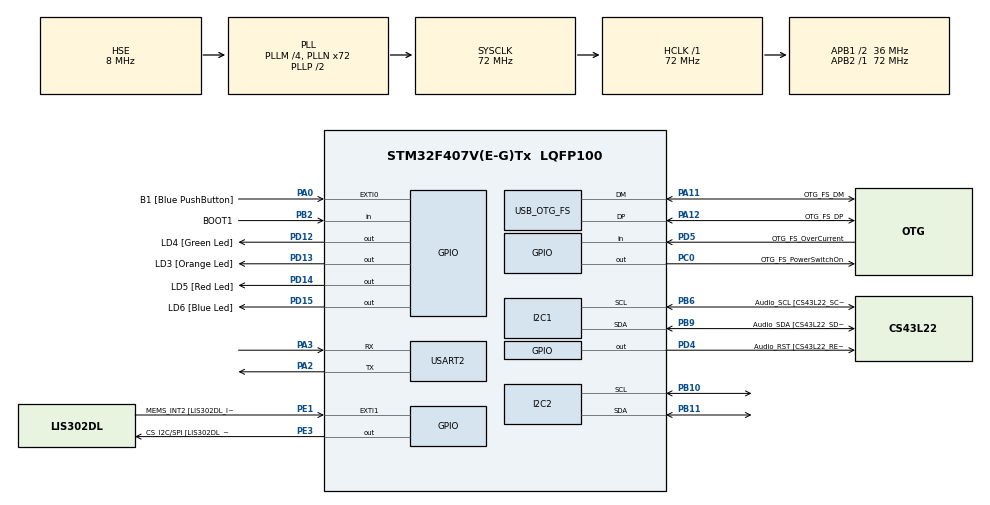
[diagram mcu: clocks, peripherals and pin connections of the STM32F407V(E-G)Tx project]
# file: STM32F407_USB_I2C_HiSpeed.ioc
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I2C1.I2C_Mode=I2C_Fast
I2C2.I2C_Mode=I2C_Fast
Mcu.Family=STM32F4
Mcu.Name=STM32F407V(E-G)Tx
Mcu.Package=LQFP100
NVIC.I2C1_EV_IRQn=true\:1\:0\:true\:false\:true\:true\:true\:true
NVIC.OTG_FS_IRQn=true\:1\:0\:true\:false\:true\:false\:true\:true
NVIC.PriorityGroup=NVIC_PRIORITYGROUP_1
PA0-WKUP.GPIO_Label=B1 [Blue PushButton]
PA0-WKUP.Signal=GPXTI0
PA10.GPIO_Label=OTG_FS_ID
PA10.GPIO_Mode=GPIO_MODE_AF_PP
PA10.GPIO_PuPd=GPIO_NOPULL
PA10.GPIO_Speed=GPIO_SPEED_FREQ_LOW
PA10.Signal=USB_OTG_FS_ID
PA11.GPIO_Label=OTG_FS_DM
PA11.GPIO_Mode=GPIO_MODE_AF_PP
PA11.GPIO_PuPd=GPIO_NOPULL
PA11.GPIO_Speed=GPIO_SPEED_FREQ_LOW
PA11.Mode=Device_Only
PA11.Signal=USB_OTG_FS_DM
PA12.GPIO_Label=OTG_FS_DP
PA12.GPIO_Mode=GPIO_MODE_AF_PP
PA12.GPIO_PuPd=GPIO_NOPULL
PA12.GPIO_Speed=GPIO_SPEED_FREQ_LOW
PA12.Mode=Device_Only
PA12.Signal=USB_OTG_FS_DP
PA13.GPIO_Label=SWDIO
PA13.Signal=SYS_JTMS-SWDIO
PA14.GPIO_Label=SWCLK
PA14.Signal=SYS_JTCK-SWCLK
PA2.Mode=Asynchronous
PA2.Signal=USART2_TX
PA3.Mode=Asynchronous
PA3.Signal=USART2_RX
PA4.GPIO_Label=I2S3_WS [CS43L22_LRCK]
PA4.GPIO_Mode=GPIO_MODE_AF_PP
PA4.GPIO_PuPd=GPIO_NOPULL
PA4.GPIO_Speed=GPIO_SPEED_FREQ_LOW
PA4.Signal=I2S3_WS
PA5.GPIO_Label=SPI1_SCK [LIS302DL_SCL/SPC]
PA5.GPIO_Mode=GPIO_MODE_AF_PP
PA5.GPIO_PuPd=GPIO_NOPULL
PA5.GPIO_Speed=GPIO_SPEED_FREQ_LOW
PA5.Signal=SPI1_SCK
PA6.GPIO_Label=SPI1_MISO [LIS302DL_SDO]
PA6.GPIO_Mode=GPIO_MODE_AF_PP
PA6.GPIO_PuPd=GPIO_NOPULL
PA6.GPIO_Speed=GPIO_SPEED_FREQ_LOW
PA6.Signal=SPI1_MISO
PA7.GPIO_Label=SPI1_MOSI [LIS302DL_SDA/SDI/SDO]
PA7.GPIO_Mode=GPIO_MODE_AF_PP
PA7.GPIO_PuPd=GPIO_NOPULL
PA7.GPIO_Speed=GPIO_SPEED_FREQ_LOW
PA7.Signal=SPI1_MOSI
PA9.GPIO_Label=VBUS_FS
PA9.GPIO_Mode=GPIO_MODE_INPUT
PA9.GPIO_PuPd=GPIO_NOPULL
PA9.Signal=USB_OTG_FS_VBUS
PB10.Mode=I2C
PB10.Signal=I2C2_SCL
PB11.Mode=I2C
PB11.Signal=I2C2_SDA
PB2.GPIO_Label=BOOT1
PB2.GPIO_Mode=GPIO_MODE_INPUT
PB2.GPIO_PuPd=GPIO_NOPULL
PB2.Signal=GPIO_Input
PB3.GPIO_Label=SWO
PB3.Signal=SYS_JTDO-SWO
PB6.GPIO_Label=Audio_SCL [CS43L22_SCL]
PB6.GPIO_Mode=GPIO_MODE_AF_OD
PB6.GPIO_PuPd=GPIO_NOPULL
PB6.GPIO_Speed=GPIO_SPEED_FREQ_LOW
PB6.Mode=I2C
PB6.Signal=I2C1_SCL
PB9.GPIO_Label=Audio_SDA [CS43L22_SDA]
PB9.GPIO_Mode=GPIO_MODE_AF_OD
PB9.GPIO_PuPd=GPIO_NOPULL
PB9.GPIO_Speed=GPIO_SPEED_FREQ_LOW
PB9.Mode=I2C
PB9.Signal=I2C1_SDA
PC0.GPIO_Label=OTG_FS_PowerSwitchOn
PC0.GPIO_PuPd=GPIO_NOPULL
PC0.GPIO_Speed=GPIO_SPEED_FREQ_LOW
PC0.PinState=GPIO_PIN_SET
PC0.Signal=GPIO_Output
PC10.GPIO_Label=I2S3_SCK [CS43L22_SCLK]
PC10.GPIO_Mode=GPIO_MODE_AF_PP
PC10.GPIO_PuPd=GPIO_NOPULL
PC10.GPIO_Speed=GPIO_SPEED_FREQ_LOW
PC10.Signal=I2S3_CK
PC12.GPIO_Label=I2S3_SD [CS43L22_SDIN]
PC12.GPIO_Mode=GPIO_MODE_AF_PP
PC12.GPIO_PuPd=GPIO_NOPULL
PC12.GPIO_Speed=GPIO_SPEED_FREQ_LOW
PC12.Signal=I2S3_SD
PC14-OSC32_IN.GPIO_Label=PC14-OSC32_IN
PC14-OSC32_IN.Mode=LSE-External-Oscillator
PC14-OSC32_IN.Signal=RCC_OSC32_IN
PC15-OSC32_OUT.GPIO_Label=PC15-OSC32_OUT
PC15-OSC32_OUT.Mode=LSE-External-Oscillator
PC15-OSC32_OUT.Signal=RCC_OSC32_OUT
PC3.GPIO_Label=PDM_OUT [MP45DT02_DOUT]
PC3.GPIO_Mode=GPIO_MODE_AF_PP
PC3.GPIO_PuPd=GPIO_NOPULL
PC3.GPIO_Speed=GPIO_SPEED_FREQ_LOW
PC3.Signal=I2S2_SD
PC7.GPIO_Label=I2S3_MCK [CS43L22_MCLK]
PC7.GPIO_Mode=GPIO_MODE_AF_PP
PC7.GPIO_PuPd=GPIO_NOPULL
PC7.GPIO_Speed=GPIO_SPEED_FREQ_LOW
PC7.Signal=I2S3_MCK
PD12.GPIO_Label=LD4 [Green Led]
PD12.GPIO_PuPd=GPIO_NOPULL
PD12.GPIO_Speed=GPIO_SPEED_FREQ_LOW
PD12.Signal=GPIO_Output
PD13.GPIO_Label=LD3 [Orange Led]
PD13.GPIO_PuPd=GPIO_NOPULL
PD13.GPIO_Speed=GPIO_SPEED_FREQ_LOW
PD13.Signal=GPIO_Output
PD14.GPIO_Label=LD5 [Red Led]
PD14.GPIO_PuPd=GPIO_NOPULL
PD14.GPIO_Speed=GPIO_SPEED_FREQ_LOW
PD14.Signal=GPIO_Output
PD15.GPIO_Label=LD6 [Blue Led]
PD15.GPIO_PuPd=GPIO_NOPULL
PD15.GPIO_Speed=GPIO_SPEED_FREQ_LOW
PD15.Signal=GPIO_Output
PD4.GPIO_Label=Audio_RST [CS43L22_RESET]
PD4.GPIO_PuPd=GPIO_NOPULL
PD4.GPIO_Speed=GPIO_SPEED_FREQ_LOW
PD4.Signal=GPIO_Output
PD5.GPIO_Label=OTG_FS_OverCurrent
PD5.GPIO_Mode=GPIO_MODE_INPUT
PD5.GPIO_PuPd=GPIO_NOPULL
PD5.Signal=GPIO_Input
PE1.GPIO_Label=MEMS_INT2 [LIS302DL_INT2]
PE1.GPIO_ModeDefaultEXTI=GPIO_MODE_EVT_RISING
PE1.GPIO_PuPd=GPIO_NOPULL
PE1.Signal=GPXTI1
PE3.GPIO_Label=CS_I2C/SPI [LIS302DL_CS_I2C/SPI]
PE3.GPIO_PuPd=GPIO_NOPULL
PE3.GPIO_Speed=GPIO_SPEED_FREQ_LOW
PE3.Signal=GPIO_Output
PH0-OSC_IN.GPIO_Label=PH0-OSC_IN
PH0-OSC_IN.Mode=HSE-External-Oscillator
PH0-OSC_IN.Signal=RCC_OSC_IN
PH1-OSC_OUT.GPIO_Label=PH1-OSC_OUT
PH1-OSC_OUT.Mode=HSE-External-Oscillator
PH1-OSC_OUT.Signal=RCC_OSC_OUT
ProjectManager.HeapSize=0x200
ProjectManager.StackSize=0x400
ProjectManager.TargetToolchain=STM32CubeIDE
RCC.48MHZClocksFreq_Value=48000000
RCC.AHBFreq_Value=72000000
RCC.APB1CLKDivider=RCC_HCLK_DIV2
RCC.APB1Freq_Value=36000000
RCC.APB1TimFreq_Value=72000000
RCC.APB2Freq_Value=72000000
RCC.APB2TimFreq_Value=72000000
RCC.CortexFreq_Value=72000000
RCC.HCLKFreq_Value=72000000
RCC.HSE_VALUE=8000000
RCC.HSI_VALUE=16000000
RCC.PLLM=4
RCC.PLLN=72
RCC.PLLQ=3
RCC.SYSCLKFreq_VALUE=72000000
RCC.SYSCLKSource=RCC_SYSCLKSOURCE_PLLCLK
RCC.VCOOutputFreq_Value=144000000
USART2.VirtualMode=VM_ASYNC
USB_DEVICE.CLASS_NAME_FS=CDC
USB_DEVICE.PRODUCT_STRING_CDC_FS=STM32 VCP-USB to I2C
USB_DEVICE.VirtualMode-CDC_FS=Cdc
USB_DEVICE.VirtualModeFS=Cdc_FS
USB_OTG_FS.VirtualMode=Device_Only
VP_USB_DEVICE_VS_USB_DEVICE_CDC_FS.Mode=CDC_FS
board=STM32F407G-DISC1

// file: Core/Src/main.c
/* USER CODE BEGIN Header */
/**
 ******************************************************************************
 * @file           : main.c
 * @brief          : Main program body
 ******************************************************************************
 * @attention
 *
 * Copyright (c) 2025 STMicroelectronics.
 * All rights reserved.
 *
 * This software is licensed under terms that can be found in the LICENSE file
 * in the root directory of this software component.
 * If no LICENSE file comes with this software, it is provided AS-IS.
 *
 ******************************************************************************
 */
/* USER CODE END Header */
#include "main.h"
#include "usb_device.h"

/* USER CODE BEGIN Includes */
#include "usbd_cdc_if.h"
/* USER CODE END Includes */

I2C_HandleTypeDef hi2c1;
I2C_HandleTypeDef hi2c2;

UART_HandleTypeDef huart2;

/* USER CODE BEGIN PV */
uint8_t RxData[16];
uint8_t RxLen;
HAL_StatusTypeDef I2C_Status = HAL_OK;
uint8_t Status;
uint8_t Resp[MAX_I2C_SIZE + 4] = { FUNC_READ, GOOD };
uint8_t Func = FUNC_READ;
I2C_HandleTypeDef I2C_Port;
/* USER CODE END PV */

void SystemClock_Config(void);
static void MX_GPIO_Init(void);
static void MX_USART2_UART_Init(void);
static void MX_I2C1_Init(void);
static void MX_I2C2_Init(void);

int main(void) {

	/* MCU Configuration--------------------------------------------------------*/

	/* Reset of all peripherals, Initializes the Flash interface and the Systick. */
	HAL_Init();

	/* Configure the system clock */
	SystemClock_Config();

	/* Initialize all configured peripherals */
	MX_GPIO_Init();
	MX_USB_DEVICE_Init();
	MX_USART2_UART_Init();
	MX_I2C1_Init();
	MX_I2C2_Init();

	/* Infinite loop */
	while (1) {

	}
}

void SystemClock_Config(void) {
	RCC_OscInitTypeDef RCC_OscInitStruct = { 0 };
	RCC_ClkInitTypeDef RCC_ClkInitStruct = { 0 };

	/** Configure the main internal regulator output voltage
	 */
	__HAL_RCC_PWR_CLK_ENABLE();
	__HAL_PWR_VOLTAGESCALING_CONFIG(PWR_REGULATOR_VOLTAGE_SCALE1);

	/** Initializes the RCC Oscillators according to the specified parameters
	 * in the RCC_OscInitTypeDef structure.
	 */
	RCC_OscInitStruct.OscillatorType = RCC_OSCILLATORTYPE_HSE;
	RCC_OscInitStruct.HSEState = RCC_HSE_ON;
	RCC_OscInitStruct.PLL.PLLState = RCC_PLL_ON;
	RCC_OscInitStruct.PLL.PLLSource = RCC_PLLSOURCE_HSE;
	RCC_OscInitStruct.PLL.PLLM = 4;
	RCC_OscInitStruct.PLL.PLLN = 72;
	RCC_OscInitStruct.PLL.PLLP = RCC_PLLP_DIV2;
	RCC_OscInitStruct.PLL.PLLQ = 3;
	if (HAL_RCC_OscConfig(&RCC_OscInitStruct) != HAL_OK) {
		Error_Handler();
	}

	/** Initializes the CPU, AHB and APB buses clocks
	 */
	RCC_ClkInitStruct.ClockType = RCC_CLOCKTYPE_HCLK | RCC_CLOCKTYPE_SYSCLK
			| RCC_CLOCKTYPE_PCLK1 | RCC_CLOCKTYPE_PCLK2;
	RCC_ClkInitStruct.SYSCLKSource = RCC_SYSCLKSOURCE_PLLCLK;
	RCC_ClkInitStruct.AHBCLKDivider = RCC_SYSCLK_DIV1;
	RCC_ClkInitStruct.APB1CLKDivider = RCC_HCLK_DIV2;
	RCC_ClkInitStruct.APB2CLKDivider = RCC_HCLK_DIV1;

	if (HAL_RCC_ClockConfig(&RCC_ClkInitStruct, FLASH_LATENCY_2) != HAL_OK) {
		Error_Handler();
	}
}

static void MX_I2C1_Init(void) {

	hi2c1.Instance = I2C1;
	hi2c1.Init.ClockSpeed = 400000;
	hi2c1.Init.DutyCycle = I2C_DUTYCYCLE_2;
	hi2c1.Init.OwnAddress1 = 0;
	hi2c1.Init.AddressingMode = I2C_ADDRESSINGMODE_7BIT;
	hi2c1.Init.DualAddressMode = I2C_DUALADDRESS_DISABLE;
	hi2c1.Init.OwnAddress2 = 0;
	hi2c1.Init.GeneralCallMode = I2C_GENERALCALL_DISABLE;
	hi2c1.Init.NoStretchMode = I2C_NOSTRETCH_DISABLE;
	if (HAL_I2C_Init(&hi2c1) != HAL_OK) {
		Error_Handler();
	}

}

static void MX_I2C2_Init(void) {

	hi2c2.Instance = I2C2;
	hi2c2.Init.ClockSpeed = 400000;
	hi2c2.Init.DutyCycle = I2C_DUTYCYCLE_2;
	hi2c2.Init.OwnAddress1 = 0;
	hi2c2.Init.AddressingMode = I2C_ADDRESSINGMODE_7BIT;
	hi2c2.Init.DualAddressMode = I2C_DUALADDRESS_DISABLE;
	hi2c2.Init.OwnAddress2 = 0;
	hi2c2.Init.GeneralCallMode = I2C_GENERALCALL_DISABLE;
	hi2c2.Init.NoStretchMode = I2C_NOSTRETCH_DISABLE;
	if (HAL_I2C_Init(&hi2c2) != HAL_OK) {
		Error_Handler();
	}

}

static void MX_USART2_UART_Init(void) {

	huart2.Instance = USART2;
	huart2.Init.BaudRate = 115200;
	huart2.Init.WordLength = UART_WORDLENGTH_8B;
	huart2.Init.StopBits = UART_STOPBITS_1;
	huart2.Init.Parity = UART_PARITY_NONE;
	huart2.Init.Mode = UART_MODE_TX_RX;
	huart2.Init.HwFlowCtl = UART_HWCONTROL_NONE;
	huart2.Init.OverSampling = UART_OVERSAMPLING_16;
	if (HAL_UART_Init(&huart2) != HAL_OK) {
		Error_Handler();
	}

}

static void MX_GPIO_Init(void) {
	GPIO_InitTypeDef GPIO_InitStruct = { 0 };

	/* GPIO Ports Clock Enable */
	__HAL_RCC_GPIOE_CLK_ENABLE();
	__HAL_RCC_GPIOC_CLK_ENABLE();
	__HAL_RCC_GPIOH_CLK_ENABLE();
	__HAL_RCC_GPIOA_CLK_ENABLE();
	__HAL_RCC_GPIOB_CLK_ENABLE();
	__HAL_RCC_GPIOD_CLK_ENABLE();

	/*Configure GPIO pin Output Level */
	HAL_GPIO_WritePin(CS_I2C_SPI_GPIO_Port, CS_I2C_SPI_Pin, GPIO_PIN_RESET);

	/*Configure GPIO pin Output Level */
	HAL_GPIO_WritePin(OTG_FS_PowerSwitchOn_GPIO_Port, OTG_FS_PowerSwitchOn_Pin,
			GPIO_PIN_SET);

	/*Configure GPIO pin Output Level */
	HAL_GPIO_WritePin(GPIOD,
	LD4_Pin | LD3_Pin | LD5_Pin | LD6_Pin | Audio_RST_Pin, GPIO_PIN_RESET);

	/*Configure GPIO pin : CS_I2C_SPI_Pin */
	GPIO_InitStruct.Pin = CS_I2C_SPI_Pin;
	GPIO_InitStruct.Mode = GPIO_MODE_OUTPUT_PP;
	GPIO_InitStruct.Pull = GPIO_NOPULL;
	GPIO_InitStruct.Speed = GPIO_SPEED_FREQ_LOW;
	HAL_GPIO_Init(CS_I2C_SPI_GPIO_Port, &GPIO_InitStruct);

	/*Configure GPIO pin : OTG_FS_PowerSwitchOn_Pin */
	GPIO_InitStruct.Pin = OTG_FS_PowerSwitchOn_Pin;
	GPIO_InitStruct.Mode = GPIO_MODE_OUTPUT_PP;
	GPIO_InitStruct.Pull = GPIO_NOPULL;
	GPIO_InitStruct.Speed = GPIO_SPEED_FREQ_LOW;
	HAL_GPIO_Init(OTG_FS_PowerSwitchOn_GPIO_Port, &GPIO_InitStruct);

	/*Configure GPIO pin : PDM_OUT_Pin */
	GPIO_InitStruct.Pin = PDM_OUT_Pin;
	GPIO_InitStruct.Mode = GPIO_MODE_AF_PP;
	GPIO_InitStruct.Pull = GPIO_NOPULL;
	GPIO_InitStruct.Speed = GPIO_SPEED_FREQ_LOW;
	GPIO_InitStruct.Alternate = GPIO_AF5_SPI2;
	HAL_GPIO_Init(PDM_OUT_GPIO_Port, &GPIO_InitStruct);

	/*Configure GPIO pin : B1_Pin */
	GPIO_InitStruct.Pin = B1_Pin;
	GPIO_InitStruct.Mode = GPIO_MODE_IT_RISING;
	GPIO_InitStruct.Pull = GPIO_NOPULL;
	HAL_GPIO_Init(B1_GPIO_Port, &GPIO_InitStruct);

	/*Configure GPIO pin : I2S3_WS_Pin */
	GPIO_InitStruct.Pin = I2S3_WS_Pin;
	GPIO_InitStruct.Mode = GPIO_MODE_AF_PP;
	GPIO_InitStruct.Pull = GPIO_NOPULL;
	GPIO_InitStruct.Speed = GPIO_SPEED_FREQ_LOW;
	GPIO_InitStruct.Alternate = GPIO_AF6_SPI3;
	HAL_GPIO_Init(I2S3_WS_GPIO_Port, &GPIO_InitStruct);

	/*Configure GPIO pins : SPI1_SCK_Pin SPI1_MISO_Pin SPI1_MOSI_Pin */
	GPIO_InitStruct.Pin = SPI1_SCK_Pin | SPI1_MISO_Pin | SPI1_MOSI_Pin;
	GPIO_InitStruct.Mode = GPIO_MODE_AF_PP;
	GPIO_InitStruct.Pull = GPIO_NOPULL;
	GPIO_InitStruct.Speed = GPIO_SPEED_FREQ_LOW;
	GPIO_InitStruct.Alternate = GPIO_AF5_SPI1;
	HAL_GPIO_Init(GPIOA, &GPIO_InitStruct);

	/*Configure GPIO pin : BOOT1_Pin */
	GPIO_InitStruct.Pin = BOOT1_Pin;
	GPIO_InitStruct.Mode = GPIO_MODE_INPUT;
	GPIO_InitStruct.Pull = GPIO_NOPULL;
	HAL_GPIO_Init(BOOT1_GPIO_Port, &GPIO_InitStruct);

	/*Configure GPIO pins : LD4_Pin LD3_Pin LD5_Pin LD6_Pin
	 Audio_RST_Pin */
	GPIO_InitStruct.Pin = LD4_Pin | LD3_Pin | LD5_Pin | LD6_Pin | Audio_RST_Pin;
	GPIO_InitStruct.Mode = GPIO_MODE_OUTPUT_PP;
	GPIO_InitStruct.Pull = GPIO_NOPULL;
	GPIO_InitStruct.Speed = GPIO_SPEED_FREQ_LOW;
	HAL_GPIO_Init(GPIOD, &GPIO_InitStruct);

	/*Configure GPIO pins : I2S3_MCK_Pin I2S3_SCK_Pin I2S3_SD_Pin */
	GPIO_InitStruct.Pin = I2S3_MCK_Pin | I2S3_SCK_Pin | I2S3_SD_Pin;
	GPIO_InitStruct.Mode = GPIO_MODE_AF_PP;
	GPIO_InitStruct.Pull = GPIO_NOPULL;
	GPIO_InitStruct.Speed = GPIO_SPEED_FREQ_LOW;
	GPIO_InitStruct.Alternate = GPIO_AF6_SPI3;
	HAL_GPIO_Init(GPIOC, &GPIO_InitStruct);

	/*Configure GPIO pin : OTG_FS_OverCurrent_Pin */
	GPIO_InitStruct.Pin = OTG_FS_OverCurrent_Pin;
	GPIO_InitStruct.Mode = GPIO_MODE_INPUT;
	GPIO_InitStruct.Pull = GPIO_NOPULL;
	HAL_GPIO_Init(OTG_FS_OverCurrent_GPIO_Port, &GPIO_InitStruct);

	/*Configure GPIO pin : MEMS_INT2_Pin */
	GPIO_InitStruct.Pin = MEMS_INT2_Pin;
	GPIO_InitStruct.Mode = GPIO_MODE_EVT_RISING;
	GPIO_InitStruct.Pull = GPIO_NOPULL;
	HAL_GPIO_Init(MEMS_INT2_GPIO_Port, &GPIO_InitStruct);

}

/* USER CODE BEGIN 4 */
void USB_CDC_RxHandler(uint8_t *Buf, uint32_t Len) {
	HAL_GPIO_TogglePin(GPIOD, LD5_Pin); // Debug

	Status = GOOD;
	RxLen = 0;

	// Define I2C Port
	if ((Buf[FUNC_BYTE] & 0xf0) == I2C1_PORT) {
		I2C_Port = hi2c1;
		Func = Buf[FUNC_BYTE] & 0x0f;
	} else if ((Buf[FUNC_BYTE] & 0xf0) == I2C2_PORT) {
		I2C_Port = hi2c2;
		Func = Buf[FUNC_BYTE] & 0x0f;
	} else {
		Status = ERRB;
		Error_Handling();
		return;
	}

	// Reseting response
	Resp[RESP_FUNC_BYTE] = Buf[FUNC_BYTE];

	// Error Checking
	if (Func == FUNC_BURST_RD || Func == FUNC_BURST_WR) {
		if ((Func == FUNC_BURST_RD && Len < BST_MIN_RD_LEN)
				|| (Func == FUNC_BURST_WR && Len < BST_MIN_WR_LEN)) {
			Status = ERR4;
		} else if (Buf[BST_DEV_ADDR_BYTE] > MAX_I2C_DEV) {
			Status = ERR0;
		} else if (Buf[BST_DEV_NUM_BYTE] > MAX_BST_DEV_NUM) {
			Status = ERR7;
		} else if (Buf[BST_REG_BYTE] > MAX_I2C_REG) {
			Status = ERR1;
		} else if (Buf[BST_SIZE_BYTE] > MAX_BST_REG_SIZE) {
			Status = ERR8;
		} else {
			if (Func == FUNC_BURST_RD) {
				for (int dev = 0; dev < Buf[BST_DEV_NUM_BYTE]; dev++) {
					I2C_Status = HAL_I2C_Mem_Read(&I2C_Port,
							(Buf[BST_DEV_ADDR_BYTE] + dev) << 1,
							Buf[BST_REG_BYTE], 1, &RxData[RxLen],
							Buf[BST_SIZE_BYTE], 1);
					RxLen = RxLen + Buf[BST_SIZE_BYTE];
					if (I2C_Status != HAL_OK) {
						Status = Status | (0b1 << dev);
					}
				}
			} else if (Func == FUNC_BURST_WR) {
				for (int dev = 0; dev < Buf[BST_DEV_NUM_BYTE]; dev++) {
					I2C_Status = HAL_I2C_Mem_Write(&I2C_Port,
							(Buf[BST_DEV_ADDR_BYTE] + dev) << 1,
							Buf[BST_REG_BYTE], 1, &Buf[BST_DATA_BYTE + RxLen],
							Buf[BST_SIZE_BYTE], 1);
					RxLen = RxLen + Buf[BST_SIZE_BYTE];
					if (I2C_Status != HAL_OK) {
						Status = Status | (0b1 << dev);
					}
				}
				memcpy(RxData, &Buf[BST_DATA_BYTE], RxLen);
			}

			if (Status == GOOD) {
				I2C_Status = HAL_OK;
			} else {
				I2C_Status = HAL_ERROR;
			}
			Response_Handling(I2C_Status);
			return;
		}
	} else if (Func == FUNC_READ || Func == FUNC_WRITE) {
		if ((Func == FUNC_READ && Len < PKT_MIN_RD_LEN)
				|| (Func == FUNC_WRITE && Len < PKT_MIN_WR_LEN)) {
			Status = ERR4;
		} else if (Buf[DEV_ADDR_BYTE] > MAX_I2C_DEV) { // I2C Device Address
			Status = ERR0;
		} else if (Buf[REG_BYTE] > MAX_I2C_REG) { // I2C Register
			Status = ERR1;
		} else if (Buf[SIZE_BYTE] > MAX_I2C_SIZE) { // Number of bytes write/read
			Status = ERR2;
		} else {
			RxLen = Buf[SIZE_BYTE];
			if (Func == FUNC_WRITE) {
				memcpy(RxData, &Buf[DATA_BYTE], RxLen);
				I2C_Status = HAL_I2C_Mem_Write(&I2C_Port,
						Buf[DEV_ADDR_BYTE] << 1, Buf[REG_BYTE], 1,
						&Buf[DATA_BYTE], Buf[SIZE_BYTE], 1);
				Response_Handling(I2C_Status);
				return;
			} else if (Func == FUNC_READ) {
				I2C_Status = HAL_I2C_Mem_Read(&I2C_Port,
						Buf[DEV_ADDR_BYTE] << 1, Buf[REG_BYTE], 1, RxData,
						Buf[SIZE_BYTE], 1);
				Response_Handling(I2C_Status);
				return;
			}
		}
	} else if (Func == FUNC_DEV_RDY) {
		if (Len < DRDY_MIN_LEN) {
			Status = ERR4;
		} else if (Buf[DRDY_DEV_ADDR_BYTE]
				+ Buf[DRDY_DEV_NUM_BYTE]> MAX_I2C_DEV) {
			Status = ERR0;
		} else if (Buf[DRDY_DEV_NUM_BYTE] > DRDY_MAX_DEV_NUM) {
			Status = ERR9;
		} else {
			for (int dev = 0; dev < Buf[DRDY_DEV_NUM_BYTE]; dev++) {
				I2C_Status = HAL_I2C_IsDeviceReady(&I2C_Port,
						(Buf[DRDY_DEV_ADDR_BYTE] + dev) << 1, DRDY_NUM_TRIAL,
						1);
				RxLen++;
				if (I2C_Status == HAL_OK) {
					RxData[dev] = DRDY_READY;
				} else {
					RxData[dev] = DRDY_NOT_READY;
					if (Status == GOOD) {
						Status = ERRA;
					}
				}
			}
			if (Status == ERRA && I2C_Status == HAL_OK) {
				I2C_Status = HAL_ERROR;
			}
			Response_Handling(I2C_Status);
			return;
		}
	} else { // Invalid Function/mode
		Status = ERR6;
	}

	// Error Response
	if (Status != GOOD) {
		HAL_GPIO_WritePin(GPIOD, LD3_Pin, GPIO_PIN_SET);
		Error_Handling();
	}

}

void HAL_I2C_RxCallBack(void) {
	uint8_t eop[] = { END_OF_PKT1, END_OF_PKT2 };
	HAL_GPIO_TogglePin(GPIOD, LD4_Pin); // Debug
	Resp[RESP_ERR_BYTE] = Status;
	memcpy(&Resp[RESP_DATA_BYTE], RxData, RxLen);
	memcpy(&Resp[RESP_DATA_BYTE + RxLen], eop, 2);
//	CDC_Transmit_FS(RxData, RxLen);
	CDC_Transmit_FS(Resp, RxLen + 4);
}

void Response_Handling(HAL_StatusTypeDef I2C_Status) {

	switch (I2C_Status) {
	case HAL_OK:
		HAL_GPIO_WritePin(GPIOD, LD3_Pin, GPIO_PIN_RESET);
		if (Func == FUNC_READ || Func == FUNC_WRITE) {
			HAL_I2C_RxCallBack();
		} else if (Func == FUNC_BURST_RD || Func == FUNC_BURST_WR) {
			HAL_I2C_RxCallBack();
		} else if (Func == FUNC_DEV_RDY) {
			HAL_I2C_RxCallBack();
		}
		break;
	case HAL_BUSY:
	case HAL_ERROR:
	case HAL_TIMEOUT:
		HAL_GPIO_WritePin(GPIOD, LD3_Pin, GPIO_PIN_SET);
		if (Func == FUNC_READ || Func == FUNC_WRITE) {
			Status = ERR5;
			Error_Handling();
		} else if (Func == FUNC_BURST_RD || Func == FUNC_BURST_WR) {
			HAL_I2C_RxCallBack();
		} else if (Func == FUNC_DEV_RDY) {
			HAL_I2C_RxCallBack();
		}
		break;
	default:
	}
}

void Error_Handling(void) {
	uint8_t eop[] = { END_OF_PKT1, END_OF_PKT2 };
	Resp[RESP_ERR_BYTE] = Status;
	memcpy(&Resp[RESP_DATA_BYTE + RxLen], eop, 2);
	CDC_Transmit_FS(Resp, RxLen + 4);
}

/* USER CODE END 4 */

void Error_Handler(void) {
	__disable_irq();
	while (1) {
	}
}
